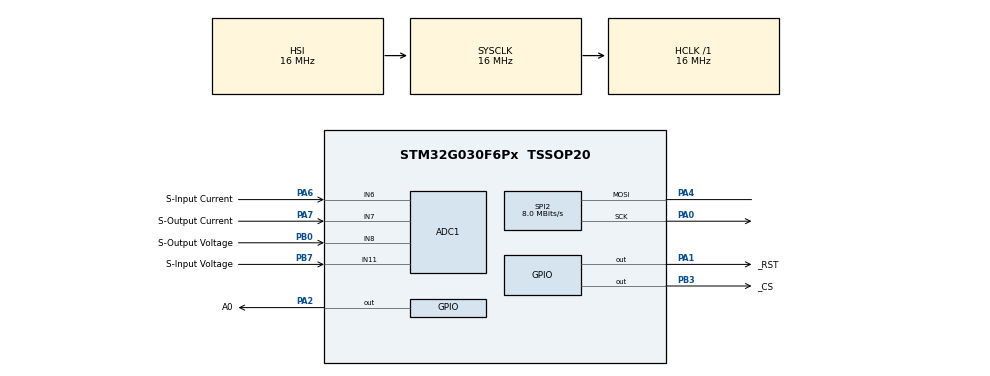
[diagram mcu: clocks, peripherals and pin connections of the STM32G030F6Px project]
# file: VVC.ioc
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ADC1.Channel-0\#ChannelRegularConversion=ADC_CHANNEL_11
ADC1.Channel-1\#ChannelRegularConversion=ADC_CHANNEL_8
ADC1.Channel-2\#ChannelRegularConversion=ADC_CHANNEL_6
ADC1.Channel-3\#ChannelRegularConversion=ADC_CHANNEL_7
ADC1.ClockPrescaler=ADC_CLOCK_SYNC_PCLK_DIV2
ADC1.DiscontinuousConvMode=ENABLE
ADC1.EOCSelection=ADC_EOC_SINGLE_CONV
ADC1.NbrOfConversion=4
ADC1.NbrOfConversionFlag=1
ADC1.OversamplingMode=ENABLE
ADC1.Rank-0\#ChannelRegularConversion=1
ADC1.Rank-1\#ChannelRegularConversion=2
ADC1.Rank-2\#ChannelRegularConversion=3
ADC1.Rank-3\#ChannelRegularConversion=4
ADC1.Ratio=ADC_OVERSAMPLING_RATIO_16
ADC1.RightBitShift=ADC_RIGHTBITSHIFT_NONE
ADC1.SamplingTime-0\#ChannelRegularConversion=ADC_SAMPLINGTIME_COMMON_1
ADC1.SamplingTime-1\#ChannelRegularConversion=ADC_SAMPLINGTIME_COMMON_1
ADC1.SamplingTime-2\#ChannelRegularConversion=ADC_SAMPLINGTIME_COMMON_1
ADC1.SamplingTime-3\#ChannelRegularConversion=ADC_SAMPLINGTIME_COMMON_1
ADC1.SamplingTimeCommon1=ADC_SAMPLETIME_160CYCLES_5
ADC1.SamplingTimeCommon2=ADC_SAMPLETIME_160CYCLES_5
ADC1.SelectedChannel=ADC_CHANNEL_6|ADC_CHANNEL_7|ADC_CHANNEL_8|ADC_CHANNEL_11
ADC1.TriggerFrequencyMode=ADC_TRIGGER_FREQ_HIGH
ADC1.master=1
Mcu.Family=STM32G0
Mcu.Name=STM32G030F6Px
Mcu.Package=TSSOP20
PA0.Mode=Simplex_Bidirectional_Master
PA0.Signal=SPI2_SCK
PA1.GPIO_Label=_RST
PA1.Signal=GPIO_Output
PA13.Mode=Serial_Wire
PA13.Signal=SYS_SWDIO
PA14-BOOT0.Mode=Serial_Wire
PA14-BOOT0.Signal=SYS_SWCLK
PA14-BOOT0__PA15.StandardMode=true
PA2.GPIO_Label=A0
PA2.Signal=GPIO_Output
PA4.Mode=Simplex_Bidirectional_Master
PA4.Signal=SPI2_MOSI
PA6.GPIO_Label=S-Input Current
PA6.Mode=IN6
PA6.Signal=ADC1_IN6
PA7.GPIO_Label=S-Output Current
PA7.Mode=IN7
PA7.Signal=ADC1_IN7
PB0.GPIO_Label=S-Output Voltage
PB0.Mode=IN8
PB0.Signal=ADC1_IN8
PB0__PB1__PB2__PA8.StandardMode=true
PB3.GPIO_Label=_CS
PB3.Signal=GPIO_Output
PB3__PB4__PB5__PB6.StandardMode=true
PB7.GPIO_Label=S-Input Voltage
PB7.Mode=IN11
PB7.Signal=ADC1_IN11
PB7__PB8.StandardMode=true
PC14-OSC32_IN\ (PC14)__PB9.StandardMode=true
ProjectManager.HeapSize=0x200
ProjectManager.StackSize=0x400
ProjectManager.TargetToolchain=STM32CubeIDE
RCC.AHBFreq_Value=16000000
RCC.CortexFreq_Value=16000000
RCC.EXTERNAL_CLOCK_VALUE=12288000
RCC.HCLKFreq_Value=16000000
RCC.HSE_VALUE=8000000
RCC.HSI_VALUE=16000000
RCC.LSE_VALUE=32768
RCC.SYSCLKFreq_VALUE=16000000
RCC.VCOOutputFreq_Value=128000000
SPI2.CalculateBaudRate=8.0 MBits/s
SPI2.Direction=SPI_DIRECTION_1LINE
SPI2.Mode=SPI_MODE_MASTER
SPI2.VirtualType=VM_MASTER
board=custom

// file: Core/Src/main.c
/* USER CODE BEGIN Header */
/**
  ******************************************************************************
  * @file           : main.c
  * @brief          : Main program body
  ******************************************************************************
  * @attention
  *
  * Copyright (c) 2025 STMicroelectronics.
  * All rights reserved.
  *
  * This software is licensed under terms that can be found in the LICENSE file
  * in the root directory of this software component.
  * If no LICENSE file comes with this software, it is provided AS-IS.
  *
  ******************************************************************************
  */
/* USER CODE END Header */
#include "main.h"

/* USER CODE BEGIN Includes */
#include <stdio.h>
#include <string.h>
#include "fonts.h"
#include "NHD_lcd.h"
#include "float2string.h"
/* USER CODE END Includes */

/* USER CODE BEGIN PD */
#define NUM_SENSORS 4
/* USER CODE END PD */

ADC_HandleTypeDef hadc1;

SPI_HandleTypeDef hspi2;

/* USER CODE BEGIN PV */
typedef enum sensor_val {v_input, v_output, i_input, i_output} Sensor_Value;
static const uint16_t g_adc_res = 65535;// ADC resolution = 2^16-1 /*4095;*/	//ADC resolution = 2^12-1
static const uint8_t g_vi_scale = 17; //largest allowable input voltage
static const uint8_t g_vo_scale = 20; //largest allowable output voltage
static const float g_current_scale = 3.3/(50*0.011f); //Amp gain * Rsense
static const float g_scales[NUM_SENSORS] = {g_vi_scale, g_vo_scale, g_current_scale, g_current_scale};
static uint16_t g_adc_buffer[NUM_SENSORS];

static const char g_vi_header[] = "Input Voltage: ";
static const char g_vo_header[] = "Output Voltage: ";
static const char g_ii_header[] = "Input Current: ";
static const char g_io_header[] = "Output Current: ";
static const char * g_unit_symbols[] = {" V", " A"};
static const uint8_t g_header_len[NUM_SENSORS] = {strlen(g_vi_header), strlen(g_vo_header),
    strlen(g_ii_header), strlen(g_io_header)};
#define MAX_NUM_LEN 10
static char g_num_text[MAX_NUM_LEN];
static char g_dest_text[NUM_COLS];
static const char * g_headers[NUM_SENSORS] = {g_vi_header, g_vo_header, g_ii_header, g_io_header};
//ERROR LOGGING
#define LOG_FLASH_START 0X0800F800U
#define MAX_LOG_NUM 256
#define LOG_FLASH_PAGE_NUM 31U
typedef struct log_struct{
  char b0;  //'I'
  uint8_t err_count;
  char source; // 'N' or 'P'
  uint8_t b1; //'T'
  uint8_t err_type;
  char b2;  //'L'
  uint16_t line_num;
} log_struct_t;
typedef enum process
  {init = 'N' /*Initialization function*/, print = 'P' /*Print to LCD display function*/
 } Process;

/* USER CODE END PV */

void SystemClock_Config(void);
static void MX_GPIO_Init(void);
static void MX_ADC1_Init(void);
static void MX_SPI2_Init(void);
/* USER CODE BEGIN PFP */
static NHD_LCDstatus_t print_power_value(NHD_LCD_Handle_t* lcd_handle, uint8_t index);
static void log_error(uint16_t line, char source, NHD_LCDstatus_t err);

/* USER CODE END PFP */

int main(void)
{

  /* USER CODE BEGIN 1 */
  //initialise_monitor_handles();
  /* USER CODE END 1 */

  /* MCU Configuration--------------------------------------------------------*/

  /* Reset of all peripherals, Initializes the Flash interface and the Systick. */
  HAL_Init();

  /* Configure the system clock */
  SystemClock_Config();

  /* Initialize all configured peripherals */
  MX_GPIO_Init();
  MX_ADC1_Init();
  MX_SPI2_Init();
  /* USER CODE BEGIN 2 */

  // Configure NHD_LCD handle
  NHD_LCD_Handle_t lcd_handle = {
      .hspi = &hspi2,
      .cs_port = _CS_GPIO_Port,
      .cs_pin = _CS_Pin,
      .op_port = A0_GPIO_Port,
      .op_pin = A0_Pin,
      .reset_port = _RST_GPIO_Port,
      .reset_pin = _RST_Pin,
  };

  NHD_LCD_Reset_Screen(&lcd_handle);//Doesn't call SPI-related methods

  NHD_LCDstatus_t err_code = NHD_SPI_OK;

  err_code = NHD_LCD_Init_Screen(&lcd_handle);
  if (err_code != NHD_SPI_OK)
  {
    log_error(__LINE__, (char)init, err_code);
  }
  err_code = NHD_LCD_Clear_Screen(&lcd_handle);
  if (err_code != NHD_SPI_OK)
  {
    log_error(__LINE__, (char)init, err_code);
  }
  err_code = NHD_LCD_Write_Data(&lcd_handle, SET_SRT_ROW); // To first line
  if (err_code != NHD_SPI_OK)
  {
    log_error(__LINE__, (char)init, err_code);
  }

  /* USER CODE END 2 */

  /* Infinite loop */
  /* USER CODE BEGIN WHILE */
  while (1)
  {
	  //Get voltage and current values from ADC
	  for (int i = 0; i < NUM_SENSORS; i++)
	  {
		  HAL_ADC_Start(&hadc1);
		  HAL_ADC_PollForConversion(&hadc1, 1);
		  g_adc_buffer[i] = HAL_ADC_GetValue(&hadc1);

	  }//Now the buffer contains all 4 values.
	  HAL_ADC_Stop(&hadc1); //Needed in for OVERSAMPLING MODE to work

	  //Send input voltage, output voltage, input current, output current to the LCD screen
	  err_code = print_power_value(&lcd_handle, v_input);
	  if (err_code != NHD_SPI_OK)
	  {
	    log_error(__LINE__, (char)print, err_code);
	  }
	  err_code = print_power_value(&lcd_handle, v_output);
	  if (err_code != NHD_SPI_OK)
	  {
	    log_error(__LINE__, (char)print, err_code);
	  }
	  err_code = print_power_value(&lcd_handle, i_input);
	  if (err_code != NHD_SPI_OK)
	  {
	    log_error(__LINE__, (char)print, err_code);
	  }
	  err_code = print_power_value(&lcd_handle, i_output);
	  if (err_code != NHD_SPI_OK)
	  {
	    log_error(__LINE__, (char)print, err_code);
	  }
	  //delay for 100ms
	  HAL_Delay(100);
    /* USER CODE END WHILE */

  }
}

void SystemClock_Config(void)
{
  RCC_OscInitTypeDef RCC_OscInitStruct = {0};
  RCC_ClkInitTypeDef RCC_ClkInitStruct = {0};

  /** Configure the main internal regulator output voltage
  */
  HAL_PWREx_ControlVoltageScaling(PWR_REGULATOR_VOLTAGE_SCALE1);

  /** Initializes the RCC Oscillators according to the specified parameters
  * in the RCC_OscInitTypeDef structure.
  */
  RCC_OscInitStruct.OscillatorType = RCC_OSCILLATORTYPE_HSI;
  RCC_OscInitStruct.HSIState = RCC_HSI_ON;
  RCC_OscInitStruct.HSIDiv = RCC_HSI_DIV1;
  RCC_OscInitStruct.HSICalibrationValue = RCC_HSICALIBRATION_DEFAULT;
  RCC_OscInitStruct.PLL.PLLState = RCC_PLL_NONE;
  if (HAL_RCC_OscConfig(&RCC_OscInitStruct) != HAL_OK)
  {
    Error_Handler();
  }

  /** Initializes the CPU, AHB and APB buses clocks
  */
  RCC_ClkInitStruct.ClockType = RCC_CLOCKTYPE_HCLK|RCC_CLOCKTYPE_SYSCLK
                              |RCC_CLOCKTYPE_PCLK1;
  RCC_ClkInitStruct.SYSCLKSource = RCC_SYSCLKSOURCE_HSI;
  RCC_ClkInitStruct.AHBCLKDivider = RCC_SYSCLK_DIV1;
  RCC_ClkInitStruct.APB1CLKDivider = RCC_HCLK_DIV1;

  if (HAL_RCC_ClockConfig(&RCC_ClkInitStruct, FLASH_LATENCY_0) != HAL_OK)
  {
    Error_Handler();
  }
}

static void MX_ADC1_Init(void)
{

  ADC_ChannelConfTypeDef sConfig = {0};

  /** Configure the global features of the ADC (Clock, Resolution, Data Alignment and number of conversion)
  */
  hadc1.Instance = ADC1;
  hadc1.Init.ClockPrescaler = ADC_CLOCK_SYNC_PCLK_DIV2;
  hadc1.Init.Resolution = ADC_RESOLUTION_12B;
  hadc1.Init.DataAlign = ADC_DATAALIGN_RIGHT;
  hadc1.Init.ScanConvMode = ADC_SCAN_ENABLE;
  hadc1.Init.EOCSelection = ADC_EOC_SINGLE_CONV;
  hadc1.Init.LowPowerAutoWait = DISABLE;
  hadc1.Init.LowPowerAutoPowerOff = DISABLE;
  hadc1.Init.ContinuousConvMode = DISABLE;
  hadc1.Init.NbrOfConversion = 4;
  hadc1.Init.DiscontinuousConvMode = ENABLE;
  hadc1.Init.ExternalTrigConv = ADC_SOFTWARE_START;
  hadc1.Init.ExternalTrigConvEdge = ADC_EXTERNALTRIGCONVEDGE_NONE;
  hadc1.Init.DMAContinuousRequests = DISABLE;
  hadc1.Init.Overrun = ADC_OVR_DATA_PRESERVED;
  hadc1.Init.SamplingTimeCommon1 = ADC_SAMPLETIME_160CYCLES_5;
  hadc1.Init.SamplingTimeCommon2 = ADC_SAMPLETIME_160CYCLES_5;
  hadc1.Init.OversamplingMode = ENABLE;
  hadc1.Init.Oversampling.Ratio = ADC_OVERSAMPLING_RATIO_16;
  hadc1.Init.Oversampling.RightBitShift = ADC_RIGHTBITSHIFT_NONE;
  hadc1.Init.Oversampling.TriggeredMode = ADC_TRIGGEREDMODE_SINGLE_TRIGGER;
  hadc1.Init.TriggerFrequencyMode = ADC_TRIGGER_FREQ_HIGH;
  if (HAL_ADC_Init(&hadc1) != HAL_OK)
  {
    Error_Handler();
  }

  /** Configure Regular Channel
  */
  sConfig.Channel = ADC_CHANNEL_11;
  sConfig.Rank = ADC_REGULAR_RANK_1;
  sConfig.SamplingTime = ADC_SAMPLINGTIME_COMMON_1;
  if (HAL_ADC_ConfigChannel(&hadc1, &sConfig) != HAL_OK)
  {
    Error_Handler();
  }

  /** Configure Regular Channel
  */
  sConfig.Channel = ADC_CHANNEL_8;
  sConfig.Rank = ADC_REGULAR_RANK_2;
  if (HAL_ADC_ConfigChannel(&hadc1, &sConfig) != HAL_OK)
  {
    Error_Handler();
  }

  /** Configure Regular Channel
  */
  sConfig.Channel = ADC_CHANNEL_6;
  sConfig.Rank = ADC_REGULAR_RANK_3;
  if (HAL_ADC_ConfigChannel(&hadc1, &sConfig) != HAL_OK)
  {
    Error_Handler();
  }

  /** Configure Regular Channel
  */
  sConfig.Channel = ADC_CHANNEL_7;
  sConfig.Rank = ADC_REGULAR_RANK_4;
  if (HAL_ADC_ConfigChannel(&hadc1, &sConfig) != HAL_OK)
  {
    Error_Handler();
  }
  /* USER CODE BEGIN ADC1_Init 2 */
  HAL_ADCEx_Calibration_Start(&hadc1);
  /* USER CODE END ADC1_Init 2 */

}

static void MX_SPI2_Init(void)
{

  /* SPI2 parameter configuration*/
  hspi2.Instance = SPI2;
  hspi2.Init.Mode = SPI_MODE_MASTER;
  hspi2.Init.Direction = SPI_DIRECTION_1LINE;
  hspi2.Init.DataSize = SPI_DATASIZE_8BIT;
  hspi2.Init.CLKPolarity = SPI_POLARITY_LOW;
  hspi2.Init.CLKPhase = SPI_PHASE_1EDGE;
  hspi2.Init.NSS = SPI_NSS_SOFT;
  hspi2.Init.BaudRatePrescaler = SPI_BAUDRATEPRESCALER_2;
  hspi2.Init.FirstBit = SPI_FIRSTBIT_MSB;
  hspi2.Init.TIMode = SPI_TIMODE_DISABLE;
  hspi2.Init.CRCCalculation = SPI_CRCCALCULATION_DISABLE;
  hspi2.Init.CRCPolynomial = 7;
  hspi2.Init.CRCLength = SPI_CRC_LENGTH_DATASIZE;
  hspi2.Init.NSSPMode = SPI_NSS_PULSE_ENABLE;
  if (HAL_SPI_Init(&hspi2) != HAL_OK)
  {
    Error_Handler();
  }

}

static void MX_GPIO_Init(void)
{
  GPIO_InitTypeDef GPIO_InitStruct = {0};

  /* GPIO Ports Clock Enable */
  __HAL_RCC_GPIOB_CLK_ENABLE();
  __HAL_RCC_GPIOA_CLK_ENABLE();

  /*Configure GPIO pin Output Level */
  HAL_GPIO_WritePin(GPIOA, _RST_Pin|A0_Pin, GPIO_PIN_RESET);

  /*Configure GPIO pin Output Level */
  HAL_GPIO_WritePin(_CS_GPIO_Port, _CS_Pin, GPIO_PIN_RESET);

  /*Configure GPIO pins : _RST_Pin A0_Pin */
  GPIO_InitStruct.Pin = _RST_Pin|A0_Pin;
  GPIO_InitStruct.Mode = GPIO_MODE_OUTPUT_PP;
  GPIO_InitStruct.Pull = GPIO_NOPULL;
  GPIO_InitStruct.Speed = GPIO_SPEED_FREQ_LOW;
  HAL_GPIO_Init(GPIOA, &GPIO_InitStruct);

  /*Configure GPIO pin : _CS_Pin */
  GPIO_InitStruct.Pin = _CS_Pin;
  GPIO_InitStruct.Mode = GPIO_MODE_OUTPUT_PP;
  GPIO_InitStruct.Pull = GPIO_NOPULL;
  GPIO_InitStruct.Speed = GPIO_SPEED_FREQ_LOW;
  HAL_GPIO_Init(_CS_GPIO_Port, &GPIO_InitStruct);

}

/* USER CODE BEGIN 4 */

/**
 * @brief This function prints the value of the voltage/current on the LCD screen
 *
 * @param index: The character row that the value would be displayed on
 * @retval NHD_LCD status
 */
static NHD_LCDstatus_t print_power_value(NHD_LCD_Handle_t* lcd_handle, uint8_t index)
{
	// Set the number digits after the decimal point, and identify if it a current value or voltage value
	uint8_t decimals = 0;
	uint8_t symbol_index;
	if (index == v_input || index == v_output)
	{
		decimals = 1;
		symbol_index = 0;
	}
	else // if(index == i_input || i_output)
	{
		decimals = 2;
		symbol_index = 1;
	}

	// Convert the ADC value from an integer->float->string
	ftoa((float)g_adc_buffer[index]*g_scales[index]/g_adc_res, g_num_text, decimals);

	// Concatenate the header string, value string and symbol string
	uint8_t num_text_len = strlen(g_num_text);
	uint8_t symbol_len = strlen(g_unit_symbols[symbol_index]);
	uint8_t total_len = g_header_len[index] + num_text_len + symbol_len;

	if (sizeof(g_dest_text) - 1 > total_len) //checks there is enough space in the buffer for the combined text
	{
	  memcpy(g_dest_text, g_headers[index], g_header_len[index]);
		memcpy(g_dest_text + g_header_len[index], g_num_text, num_text_len);
		memcpy(g_dest_text + g_header_len[index] + num_text_len,
		    g_unit_symbols[symbol_index], symbol_len + 1); // "+ 1" to add '\0'
	}
	else
	{
	  NHD_LCDstatus_t err_code = NHD_SPI_OK;
	  if ((err_code = NHD_LCD_Print_Data(lcd_handle, "Error: string was too long", index)) != NHD_SPI_OK)
	    return err_code;
	}

	// Print string to the LCD string
	NHD_LCDstatus_t err_code = NHD_SPI_OK;
	if ((err_code = NHD_LCD_Print_Data(lcd_handle, g_dest_text, index)) != NHD_SPI_OK)
		return err_code;

	return err_code;
}

void log_error(uint16_t line, char source, NHD_LCDstatus_t err)
{
  __disable_irq();
  // Populate Error Log values
  log_struct_t log;
  log.b0 = 'I';
  log.b1 = 'T';
  log.b2 = 'L';
  log.line_num = line;
  log.source = source;
  log.err_type = err;

  // Unlock the Flash
  if (HAL_FLASH_Unlock() != HAL_OK)
  {
    //Flash Unlocked Failed
    Error_Handler();
  }

  log_struct_t *plog = (log_struct_t*)LOG_FLASH_START;
  uint32_t addr;
  uint64_t data;
  uint8_t data_saved = 0;
  HAL_StatusTypeDef status;
  for(uint8_t i = 0; i < MAX_LOG_NUM; i++) //Search for first available index in page to save error log
  {
    if(plog->b0 != 'I')
    { //
      log.err_count = i;
      data =  *(uint64_t*)&log;
      addr = (uint32_t)plog;
      status = HAL_FLASH_Program(FLASH_TYPEPROGRAM_DOUBLEWORD, addr, data);
      if(status != HAL_OK)
      {
        //Logging Error into Flash Failed
        Error_Handler();
      }
      data_saved = 1;
      break;
    }
    plog++;
  }

  if(!data_saved) //Flash page is full, must be cleared before adding a new entry
  {
    FLASH_EraseInitTypeDef erase_config;
    erase_config.TypeErase = FLASH_TYPEERASE_PAGES;
    erase_config.Banks = FLASH_BANK_1;
    erase_config.Page = LOG_FLASH_PAGE_NUM;
    erase_config.NbPages = 1;
    uint32_t page_error;
    status = HAL_FLASHEx_Erase(&erase_config, &page_error);
    if(status != HAL_OK)
    {
      //Logging Error into Flash Failed
      Error_Handler();
    }

    log.err_count = 0;
    data =  *(uint64_t*)&log;
    addr = (uint32_t)LOG_FLASH_START;
    status = HAL_FLASH_Program(FLASH_TYPEPROGRAM_DOUBLEWORD, addr, data);
    if(status != HAL_OK)
    {
      //Logging Error into Flash Failed
      Error_Handler();
    }
    data_saved = 1;
  }
  HAL_FLASH_Lock();
  Error_Handler();
}

/* USER CODE END 4 */

void Error_Handler(void)
{
  /* USER CODE BEGIN Error_Handler_Debug */
  /* User can add his own implementation to report the HAL error return state */
  //__disable_irq(); -- code placed here automatically by system, moved to beginning of log_error function
  while (1)
  {
  }
  /* USER CODE END Error_Handler_Debug */
}
